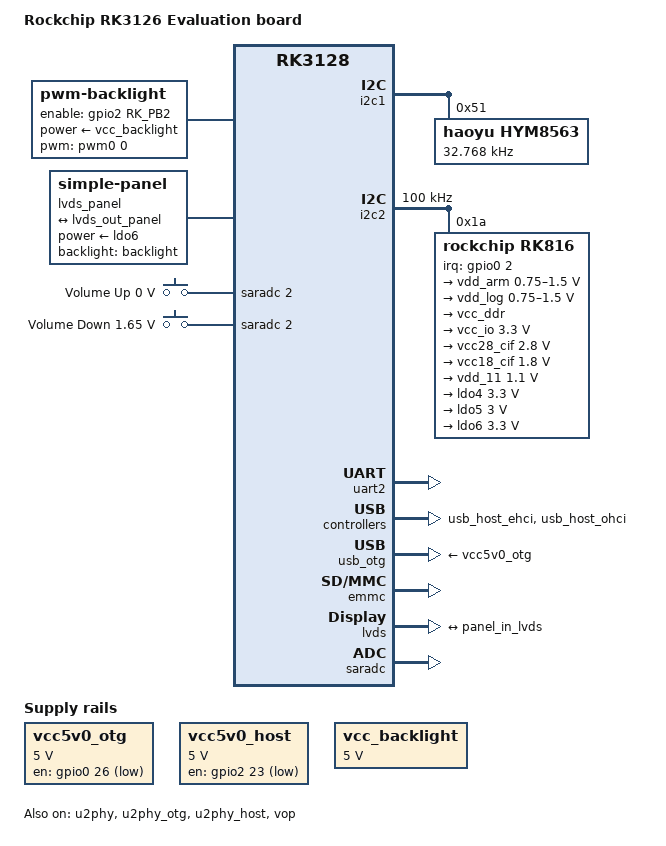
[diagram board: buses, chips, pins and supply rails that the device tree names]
/*
 * (C) Copyright 2017 Rockchip Electronics Co., Ltd
 *
 * SPDX-License-Identifier:     GPL-2.0+
 */

/dts-v1/;

#include "rk3128.dtsi"
#include "rk3128-u-boot.dtsi"
#include <dt-bindings/input/input.h>

/ {
	model = "Rockchip RK3126 Evaluation board";
	compatible = "rockchip,rk3128-evb", "rockchip,rk3128";

	chosen {
		stdout-path = &uart2;
	};

	vcc5v0_otg: vcc5v0-otg-drv {
		compatible = "regulator-fixed";
		regulator-name = "vcc5v0_otg";
		gpio = <&gpio0 26 GPIO_ACTIVE_HIGH>;
		pinctrl-names = "default";
		pinctrl-0 = <&otg_vbus_drv>;
		regulator-min-microvolt = <5000000>;
		regulator-max-microvolt = <5000000>;
	};

	vcc5v0_host: vcc5v0-host-drv {
		compatible = "regulator-fixed";
		regulator-name = "vcc5v0_host";
		gpio = <&gpio2 23 GPIO_ACTIVE_HIGH>;
		pinctrl-names = "default";
		pinctrl-0 = <&host_vbus_drv>;
		regulator-min-microvolt = <5000000>;
		regulator-max-microvolt = <5000000>;
		regulator-always-on;
	};

	vcc_backlight: vcc-backlight {
		compatible = "regulator-fixed";
		regulator-name = "vcc_backlight";
		regulator-min-microvolt = <5000000>;
		regulator-max-microvolt = <5000000>;
		regulator-always-on;
	};

	backlight: backlight {
		compatible = "pwm-backlight";
		brightness-levels = <
			0   1   2   3   4   5   6   7
			8   9  10  11  12  13  14  15
			16  17  18  19  20  21  22  23
			24  25  26  27  28  29  30  31
			32  33  34  35  36  37  38  39
			40  41  42  43  44  45  46  47
			48  49  50  51  52  53  54  55
			56  57  58  59  60  61  62  63
			64  65  66  67  68  69  70  71
			72  73  74  75  76  77  78  79
			80  81  82  83  84  85  86  87
			88  89  90  91  92  93  94  95
			96  97  98  99 100 101 102 103
			104 105 106 107 108 109 110 111
			112 113 114 115 116 117 118 119
			120 121 122 123 124 125 126 127
			128 129 130 131 132 133 134 135
			136 137 138 139 140 141 142 143
			144 145 146 147 148 149 150 151
			152 153 154 155 156 157 158 159
			160 161 162 163 164 165 166 167
			168 169 170 171 172 173 174 175
			176 177 178 179 180 181 182 183
			184 185 186 187 188 189 190 191
			192 193 194 195 196 197 198 199
			200 201 202 203 204 205 206 207
			208 209 210 211 212 213 214 215
			216 217 218 219 220 221 222 223
			224 225 226 227 228 229 230 231
			232 233 234 235 236 237 238 239
			240 241 242 243 244 245 246 247
			248 249 250 251 252 253 254 255>;
		default-brightness-level = <128>;
		pwms = <&pwm0 0 1000000 1>;
		enable-gpios = <&gpio2 RK_PB2 GPIO_ACTIVE_HIGH>;
		power-supply = <&vcc_backlight>;
		status = "okay";
	};

	lvds_panel: lvds-panel {
		u-boot,dm-pre-reloc;
		compatible ="simple-panel";
		backlight = <&backlight>;
		bus-format = <0x1009>;
		/* enable-gpios = <&gpio2 10 GPIO_ACTIVE_HIGH>;
		 * delay,disable = <10>;
		 * power-supply = <&vcc_lcd>;
		 */
		power-supply = <&ldo6>;
		power-invert = <1>;
		rockchip,data-mapping = "jeida";
		rockchip,data-width = <18>;
		rockchip,output = "rgb";

		display-timings {
			native-mode = <&timing0>;
			timing0: timing0 {
				clock-frequency = <60000000>;
				hactive = <1024>;
				vactive = <600>;
				hback-porch = <100>;
				hfront-porch = <120>;
				vback-porch = <10>;
				vfront-porch = <15>;
				hsync-len = <100>;
				vsync-len = <10>;
				hsync-active = <0>;
				vsync-active = <0>;
				de-active = <0>;
				pixelclk-active = <0>;
			};
		};

		ports {
			panel_in_lvds: endpoint {
				remote-endpoint = <&lvds_out_panel>;
			};
		};
	};

	adc-keys {
		compatible = "adc-keys";
		io-channels = <&saradc 2>;
		io-channel-names = "buttons";
		poll-interval = <100>;
		keyup-threshold-microvolt = <3300000>;

		button-up {
			label = "Volume Up";
			linux,code = <KEY_VOLUMEUP>;
			press-threshold-microvolt = <0>;
		};

		button-down {
			label = "Volume Down";
			linux,code = <KEY_VOLUMEDOWN>;
			press-threshold-microvolt = <1650000>;
		};
	};

	charge-animation {
		compatible = "rockchip,uboot-charge";
		rockchip,uboot-charge-on = <0>;
		rockchip,android-charge-on = <1>;
		status = "okay";
	};
};

&i2c1 {
	status = "okay";

        hym8563: hym8563@51 {
		compatible = "haoyu,hym8563";
		reg = <0x51>;
		#clock-cells = <0>;
		clock-frequency = <32768>;
		clock-output-names = "xin32k";
	};
};

&i2c2 {
	clock-frequency = <100000>;
	status = "okay";

	rk816: pmic@1a {
		compatible = "rockchip,rk816";
		reg = <0x1a>;
		interrupt-parent = <&gpio0>;
		interrupts = <2 IRQ_TYPE_LEVEL_LOW>;
		pinctrl-names = "default";
		pinctrl-0 = <&pmic_int_l>;
		rockchip,system-power-controller;
		wakeup-source;
		gpio-controller;
		#gpio-cells = <2>;
		#clock-cells = <1>;
		clock-output-names = "xin32k", "rk816-clkout2";

		gpio {
			status = "okay";
		};

		pwrkey {
			status = "okay";
		};

		rtc {
			status = "okay";
		};

		battery {
			compatible = "rk816-battery";
			ocv_table = < 3400 3654 3686 3710 3744 3775 3803
						  3825 3843 3858 3870 3886 3916 3955
						  3988 4010 4023 4032 4049 4080 4151 >;
			design_capacity = <2000>;
			design_qmax = <2200>;
			bat_res = <120>;
			max_input_current = <2000>;
			max_chrg_current = <1000>;
			max_chrg_voltage = <4200>;
			sleep_enter_current = <300>;
			sleep_exit_current = <300>;
			sleep_filter_current = <100>;
			power_off_thresd = <3500>;
			zero_algorithm_vol = <3800>;
			max_soc_offset = <60>;
			monitor_sec = <5>;
			virtual_power = <0>;
			power_dc2otg = <0>;
			dc_det_adc = <0>;
		};

		regulators {

			vdd_arm: DCDC_REG1{
				regulator-name= "vdd_arm";
				regulator-min-microvolt = <750000>;
				regulator-max-microvolt = <1500000>;
				regulator-ramp-delay = <6001>;
				regulator-always-on;
				regulator-boot-on;
				regulator-state-mem {
					regulator-on-in-suspend;
					regulator-suspend-microvolt = <900000>;
				};
			};

			vdd_log: DCDC_REG2 {
				regulator-name= "vdd_logic";
				regulator-min-microvolt = <750000>;
				regulator-max-microvolt = <1500000>;
				regulator-ramp-delay = <6001>;
				regulator-always-on;
				regulator-boot-on;
				regulator-state-mem {
					regulator-on-in-suspend;
					regulator-suspend-microvolt = <1000000>;
				};
			};

			vcc_ddr: DCDC_REG3 {
				regulator-name = "vcc_ddr";
				regulator-always-on;
				regulator-boot-on;
			};

			vcc_io: DCDC_REG4 {
				regulator-name = "vcc_io";
				regulator-min-microvolt = <3300000>;
				regulator-max-microvolt = <3300000>;
				regulator-always-on;
				regulator-boot-on;
				regulator-state-mem {
					regulator-on-in-suspend;
					regulator-suspend-microvolt = <3000000>;
				};
			};

			vcc28_cif: LDO_REG1 {
				regulator-name = "vcc28_cif";
				regulator-min-microvolt = <2800000>;
				regulator-max-microvolt = <2800000>;
				regulator-always-on;
				regulator-boot-on;
				regulator-state-mem {
					regulator-off-in-suspend;
				};
			};

			vcc18_cif: LDO_REG2 {
				regulator-name = "vcc18_cif";
				regulator-min-microvolt = <1800000>;
				regulator-max-microvolt = <1800000>;
				regulator-always-on;
				regulator-boot-on;
				regulator-state-mem {
					regulator-off-in-suspend;
				};
			};

			vdd_11: LDO_REG3 {
				regulator-name = "vdd_11";
				regulator-min-microvolt = <1100000>;
				regulator-max-microvolt = <1100000>;
				regulator-always-on;
				regulator-boot-on;
				regulator-state-mem {
					regulator-on-in-suspend;
					regulator-suspend-microvolt = <1100000>;
				};
			};

			ldo4: LDO_REG4 {
				regulator-name= "ldo4";
				regulator-min-microvolt = <3300000>;
				regulator-max-microvolt = <3300000>;
				regulator-always-on;
				regulator-boot-on;
				regulator-state-mem {
					regulator-off-in-suspend;
				};
			};

			ldo5: LDO_REG5 {
				regulator-name= "ldo5";
				regulator-min-microvolt = <3000000>;
				regulator-max-microvolt = <3000000>;
				regulator-always-on;
				regulator-boot-on;
				regulator-state-mem {
					regulator-off-in-suspend;
				};
			};

			ldo6: LDO_REG6 {
				regulator-name= "ldo6";
				regulator-min-microvolt = <3300000>;
				regulator-max-microvolt = <3300000>;
				regulator-state-mem {
					regulator-on-in-suspend;
					regulator-suspend-microvolt = <3300000>;
				};
			};
		};
	};
};

&u2phy {
	status = "okay";
};

&u2phy_otg {
	status = "okay";
};

&u2phy_host {
	status = "okay";
};

&uart2 {
	clock-frequency = <24000000>;
	u-boot,dm-pre-reloc;
	status = "okay";
};

&usb_host_ehci {
	status = "okay";
};

&usb_host_ohci {
	status = "okay";
};

&usb_otg {
	vbus-supply = <&vcc5v0_otg>;
	status = "okay";
};

&emmc {
	fifo-mode;
	status = "okay";
};

&lvds {
	status = "okay";
	ports {
		lvds_out: endpoint@0 {
			reg = <0>;
			lvds_out_panel: endpoint {
				remote-endpoint = <&panel_in_lvds>;
			};
		};
	};
};

&vop {
	status = "okay";
};

&pinctrl {
	usb_otg {
		otg_vbus_drv: otg-vbus-drv {
			rockchip,pins = <0 26 RK_FUNC_GPIO &pcfg_pull_none>;
		};
	};

	usb_host {
		host_vbus_drv: host-vbus-drv {
			rockchip,pins = <2 23 RK_FUNC_GPIO &pcfg_pull_none>;
		};
	};

	pmic_int_l: pmic-int-l {
			rockchip,pins =
				<0 2 RK_FUNC_GPIO &pcfg_pull_none>;
	};
};

&saradc {
	status = "okay";
};
